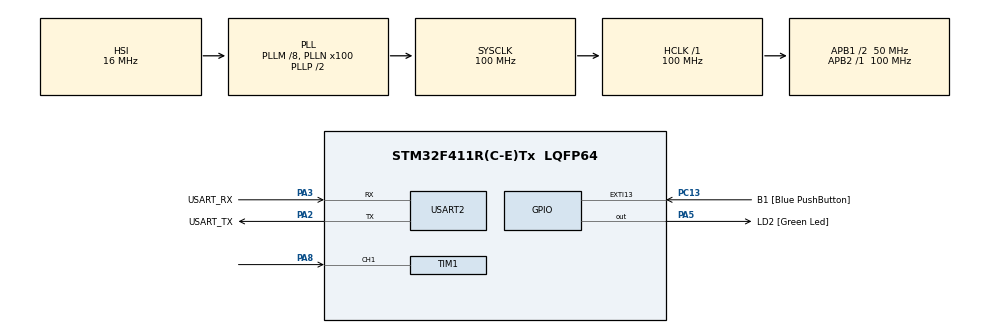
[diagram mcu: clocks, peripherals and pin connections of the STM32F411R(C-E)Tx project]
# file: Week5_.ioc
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Dma.Request0=TIM1_CH1
Dma.TIM1_CH1.0.Direction=DMA_PERIPH_TO_MEMORY
Dma.TIM1_CH1.0.FIFOMode=DMA_FIFOMODE_DISABLE
Dma.TIM1_CH1.0.Instance=DMA2_Stream1
Dma.TIM1_CH1.0.MemDataAlignment=DMA_MDATAALIGN_HALFWORD
Dma.TIM1_CH1.0.MemInc=DMA_MINC_ENABLE
Dma.TIM1_CH1.0.Mode=DMA_CIRCULAR
Dma.TIM1_CH1.0.PeriphDataAlignment=DMA_PDATAALIGN_HALFWORD
Dma.TIM1_CH1.0.PeriphInc=DMA_PINC_DISABLE
Dma.TIM1_CH1.0.Priority=DMA_PRIORITY_LOW
Mcu.Family=STM32F4
Mcu.Name=STM32F411R(C-E)Tx
Mcu.Package=LQFP64
NVIC.DMA2_Stream1_IRQn=true\:0\:0\:false\:false\:true\:false\:true
NVIC.PriorityGroup=NVIC_PRIORITYGROUP_0
NVIC.TIM1_TRG_COM_TIM11_IRQn=true\:0\:0\:false\:false\:true\:true\:true
PA13.GPIO_Label=TMS
PA13.Mode=Serial_Wire
PA13.Signal=SYS_JTMS-SWDIO
PA14.GPIO_Label=TCK
PA14.Mode=Serial_Wire
PA14.Signal=SYS_JTCK-SWCLK
PA2.GPIO_Label=USART_TX
PA2.Mode=Asynchronous
PA2.Signal=USART2_TX
PA3.GPIO_Label=USART_RX
PA3.Mode=Asynchronous
PA3.Signal=USART2_RX
PA5.GPIO_Label=LD2 [Green Led]
PA5.Signal=GPIO_Output
PA8.Signal=S_TIM1_CH1
PB3.GPIO_Label=SWO
PB3.Signal=SYS_JTDO-SWO
PC13-ANTI_TAMP.GPIO_Label=B1 [Blue PushButton]
PC13-ANTI_TAMP.GPIO_ModeDefaultEXTI=GPIO_MODE_IT_FALLING
PC13-ANTI_TAMP.Signal=GPXTI13
PC14-OSC32_IN.Mode=LSE-External-Oscillator
PC14-OSC32_IN.Signal=RCC_OSC32_IN
PC15-OSC32_OUT.Mode=LSE-External-Oscillator
PC15-OSC32_OUT.Signal=RCC_OSC32_OUT
PH0\ -\ OSC_IN.Mode=HSE-External-Clock-Source
PH0\ -\ OSC_IN.Signal=RCC_OSC_IN
PH1\ -\ OSC_OUT.Mode=HSE-External-Clock-Source
PH1\ -\ OSC_OUT.Signal=RCC_OSC_OUT
ProjectManager.HeapSize=0x200
ProjectManager.StackSize=0x400
ProjectManager.TargetToolchain=STM32CubeIDE
RCC.48MHZClocksFreq_Value=50000000
RCC.AHBFreq_Value=100000000
RCC.APB1CLKDivider=RCC_HCLK_DIV2
RCC.APB1Freq_Value=50000000
RCC.APB1TimFreq_Value=100000000
RCC.APB2Freq_Value=100000000
RCC.APB2TimFreq_Value=100000000
RCC.CortexFreq_Value=100000000
RCC.FLatency-AdvancedSettings=FLASH_LATENCY_3
RCC.HCLKFreq_Value=100000000
RCC.HSE_VALUE=8000000
RCC.HSI_VALUE=16000000
RCC.PLLM=8
RCC.PLLN=100
RCC.SYSCLKFreq_VALUE=100000000
RCC.SYSCLKSource=RCC_SYSCLKSOURCE_PLLCLK
RCC.VCOOutputFreq_Value=200000000
SH.S_TIM1_CH1.0=TIM1_CH1,Input_Capture1_from_TI1
TIM1.Channel-Input_Capture1_from_TI1=TIM_CHANNEL_1
TIM1.ICFilter_CH1=2
TIM1.ICPolarity_CH1=TIM_INPUTCHANNELPOLARITY_RISING
TIM1.Prescaler=99
TIM11.AutoReloadPreload=TIM_AUTORELOAD_PRELOAD_DISABLE
TIM11.Prescaler=99
USART2.VirtualMode=VM_ASYNC
VP_TIM11_VS_ClockSourceINT.Mode=Enable_Timer
VP_TIM1_VS_ClockSourceINT.Mode=Internal
board=NUCLEO-F411RE

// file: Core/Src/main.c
/* USER CODE BEGIN Header */
/**
  ******************************************************************************
  * @file           : main.c
  * @brief          : Main program body
  ******************************************************************************
  * @attention
  *
  * <h2><center>&copy; Copyright (c) 2021 STMicroelectronics.
  * All rights reserved.</center></h2>
  *
  * This software component is licensed by ST under BSD 3-Clause license,
  * the "License"; You may not use this file except in compliance with the
  * License. You may obtain a copy of the License at:
  *                        opensource.org/licenses/BSD-3-Clause
  *
  ******************************************************************************
  */
/* USER CODE END Header */
#include "main.h"

/* USER CODE BEGIN PD */
#define CAPTURENUM 16
/* USER CODE END PD */

TIM_HandleTypeDef htim1;
TIM_HandleTypeDef htim11;
DMA_HandleTypeDef hdma_tim1_ch1;

UART_HandleTypeDef huart2;

/* USER CODE BEGIN PV */

//DMA Buffer
uint16_t capturedata[CAPTURENUM] = { 0 };

int32_t DiffTime[CAPTURENUM-1] = { 0 };

float MeanTime =0;

uint64_t _micros = 0 ;
/* USER CODE END PV */

void SystemClock_Config(void);
static void MX_GPIO_Init(void);
static void MX_DMA_Init(void);
static void MX_USART2_UART_Init(void);
static void MX_TIM1_Init(void);
static void MX_TIM11_Init(void);
/* USER CODE BEGIN PFP */

uint64_t micros();

//Read speed of encoder
void encoderSpeedReaderCycle();

/* USER CODE END PFP */

int main(void)
{

  /* MCU Configuration--------------------------------------------------------*/

  /* Reset of all peripherals, Initializes the Flash interface and the Systick. */
  HAL_Init();

  /* Configure the system clock */
  SystemClock_Config();

  /* Initialize all configured peripherals */
  MX_GPIO_Init();
  MX_DMA_Init();
  MX_USART2_UART_Init();
  MX_TIM1_Init();
  MX_TIM11_Init();
  /* USER CODE BEGIN 2 */
  HAL_TIM_Base_Start_IT(&htim11);

  //start Input capture in DMA
  	HAL_TIM_Base_Start(&htim1);
  	HAL_TIM_IC_Start_DMA(&htim1, TIM_CHANNEL_1, (uint32_t*) &capturedata,
  			CAPTURENUM);

  uint64_t timestamp = 0 ;
  /* USER CODE END 2 */

  /* Infinite loop */
  /* USER CODE BEGIN WHILE */
  while (1)
  {

	  encoderSpeedReaderCycle();
	  if(micros()-timestamp > 1000000) //us
		{
			timestamp = micros();
			HAL_GPIO_TogglePin(LD2_GPIO_Port,LD2_Pin);
		}

    /* USER CODE END WHILE */

  }
}

void SystemClock_Config(void)
{
  RCC_OscInitTypeDef RCC_OscInitStruct = {0};
  RCC_ClkInitTypeDef RCC_ClkInitStruct = {0};

  /** Configure the main internal regulator output voltage
  */
  __HAL_RCC_PWR_CLK_ENABLE();
  __HAL_PWR_VOLTAGESCALING_CONFIG(PWR_REGULATOR_VOLTAGE_SCALE1);
  /** Initializes the RCC Oscillators according to the specified parameters
  * in the RCC_OscInitTypeDef structure.
  */
  RCC_OscInitStruct.OscillatorType = RCC_OSCILLATORTYPE_HSI;
  RCC_OscInitStruct.HSIState = RCC_HSI_ON;
  RCC_OscInitStruct.HSICalibrationValue = RCC_HSICALIBRATION_DEFAULT;
  RCC_OscInitStruct.PLL.PLLState = RCC_PLL_ON;
  RCC_OscInitStruct.PLL.PLLSource = RCC_PLLSOURCE_HSI;
  RCC_OscInitStruct.PLL.PLLM = 8;
  RCC_OscInitStruct.PLL.PLLN = 100;
  RCC_OscInitStruct.PLL.PLLP = RCC_PLLP_DIV2;
  RCC_OscInitStruct.PLL.PLLQ = 4;
  if (HAL_RCC_OscConfig(&RCC_OscInitStruct) != HAL_OK)
  {
    Error_Handler();
  }
  /** Initializes the CPU, AHB and APB buses clocks
  */
  RCC_ClkInitStruct.ClockType = RCC_CLOCKTYPE_HCLK|RCC_CLOCKTYPE_SYSCLK
                              |RCC_CLOCKTYPE_PCLK1|RCC_CLOCKTYPE_PCLK2;
  RCC_ClkInitStruct.SYSCLKSource = RCC_SYSCLKSOURCE_PLLCLK;
  RCC_ClkInitStruct.AHBCLKDivider = RCC_SYSCLK_DIV1;
  RCC_ClkInitStruct.APB1CLKDivider = RCC_HCLK_DIV2;
  RCC_ClkInitStruct.APB2CLKDivider = RCC_HCLK_DIV1;

  if (HAL_RCC_ClockConfig(&RCC_ClkInitStruct, FLASH_LATENCY_3) != HAL_OK)
  {
    Error_Handler();
  }
}

static void MX_TIM1_Init(void)
{

  TIM_ClockConfigTypeDef sClockSourceConfig = {0};
  TIM_MasterConfigTypeDef sMasterConfig = {0};
  TIM_IC_InitTypeDef sConfigIC = {0};

  htim1.Instance = TIM1;
  htim1.Init.Prescaler = 99;
  htim1.Init.CounterMode = TIM_COUNTERMODE_UP;
  htim1.Init.Period = 65535;
  htim1.Init.ClockDivision = TIM_CLOCKDIVISION_DIV1;
  htim1.Init.RepetitionCounter = 0;
  htim1.Init.AutoReloadPreload = TIM_AUTORELOAD_PRELOAD_DISABLE;
  if (HAL_TIM_Base_Init(&htim1) != HAL_OK)
  {
    Error_Handler();
  }
  sClockSourceConfig.ClockSource = TIM_CLOCKSOURCE_INTERNAL;
  if (HAL_TIM_ConfigClockSource(&htim1, &sClockSourceConfig) != HAL_OK)
  {
    Error_Handler();
  }
  if (HAL_TIM_IC_Init(&htim1) != HAL_OK)
  {
    Error_Handler();
  }
  sMasterConfig.MasterOutputTrigger = TIM_TRGO_RESET;
  sMasterConfig.MasterSlaveMode = TIM_MASTERSLAVEMODE_DISABLE;
  if (HAL_TIMEx_MasterConfigSynchronization(&htim1, &sMasterConfig) != HAL_OK)
  {
    Error_Handler();
  }
  sConfigIC.ICPolarity = TIM_INPUTCHANNELPOLARITY_RISING;
  sConfigIC.ICSelection = TIM_ICSELECTION_DIRECTTI;
  sConfigIC.ICPrescaler = TIM_ICPSC_DIV1;
  sConfigIC.ICFilter = 2;
  if (HAL_TIM_IC_ConfigChannel(&htim1, &sConfigIC, TIM_CHANNEL_1) != HAL_OK)
  {
    Error_Handler();
  }

}

static void MX_TIM11_Init(void)
{

  htim11.Instance = TIM11;
  htim11.Init.Prescaler = 99;
  htim11.Init.CounterMode = TIM_COUNTERMODE_UP;
  htim11.Init.Period = 65535;
  htim11.Init.ClockDivision = TIM_CLOCKDIVISION_DIV1;
  htim11.Init.AutoReloadPreload = TIM_AUTORELOAD_PRELOAD_DISABLE;
  if (HAL_TIM_Base_Init(&htim11) != HAL_OK)
  {
    Error_Handler();
  }

}

static void MX_USART2_UART_Init(void)
{

  huart2.Instance = USART2;
  huart2.Init.BaudRate = 115200;
  huart2.Init.WordLength = UART_WORDLENGTH_8B;
  huart2.Init.StopBits = UART_STOPBITS_1;
  huart2.Init.Parity = UART_PARITY_NONE;
  huart2.Init.Mode = UART_MODE_TX_RX;
  huart2.Init.HwFlowCtl = UART_HWCONTROL_NONE;
  huart2.Init.OverSampling = UART_OVERSAMPLING_16;
  if (HAL_UART_Init(&huart2) != HAL_OK)
  {
    Error_Handler();
  }

}

static void MX_DMA_Init(void)
{

  /* DMA controller clock enable */
  __HAL_RCC_DMA2_CLK_ENABLE();

  /* DMA interrupt init */
  /* DMA2_Stream1_IRQn interrupt configuration */
  HAL_NVIC_SetPriority(DMA2_Stream1_IRQn, 0, 0);
  HAL_NVIC_EnableIRQ(DMA2_Stream1_IRQn);

}

static void MX_GPIO_Init(void)
{
  GPIO_InitTypeDef GPIO_InitStruct = {0};

  /* GPIO Ports Clock Enable */
  __HAL_RCC_GPIOC_CLK_ENABLE();
  __HAL_RCC_GPIOH_CLK_ENABLE();
  __HAL_RCC_GPIOA_CLK_ENABLE();
  __HAL_RCC_GPIOB_CLK_ENABLE();

  /*Configure GPIO pin Output Level */
  HAL_GPIO_WritePin(LD2_GPIO_Port, LD2_Pin, GPIO_PIN_RESET);

  /*Configure GPIO pin : B1_Pin */
  GPIO_InitStruct.Pin = B1_Pin;
  GPIO_InitStruct.Mode = GPIO_MODE_IT_FALLING;
  GPIO_InitStruct.Pull = GPIO_NOPULL;
  HAL_GPIO_Init(B1_GPIO_Port, &GPIO_InitStruct);

  /*Configure GPIO pin : LD2_Pin */
  GPIO_InitStruct.Pin = LD2_Pin;
  GPIO_InitStruct.Mode = GPIO_MODE_OUTPUT_PP;
  GPIO_InitStruct.Pull = GPIO_NOPULL;
  GPIO_InitStruct.Speed = GPIO_SPEED_FREQ_LOW;
  HAL_GPIO_Init(LD2_GPIO_Port, &GPIO_InitStruct);

}

/* USER CODE BEGIN 4 */

void encoderSpeedReaderCycle() {
	//get DMA Position form number of data
	uint32_t CapPos =CAPTURENUM -  __HAL_DMA_GET_COUNTER(htim1.hdma[TIM_DMA_ID_CC1]);
	uint32_t sum = 0 ;

	//calculate diff from all buffer
	for(register int i=0 ;i < CAPTURENUM-1;i++)
	{
		DiffTime[i]  = capturedata[(CapPos+1+i)%CAPTURENUM]-capturedata[(CapPos+i)%CAPTURENUM];
		//time never go back, but timer can over flow , conpensate that
		if (DiffTime[i] <0)
		{
			DiffTime[i]+=65535;
		}
		//Sum all 15 Diff
		sum += DiffTime[i];
	}

	//mean all 15 Diff
	MeanTime =sum / (float)(CAPTURENUM-1);
}
uint64_t micros()
{
	return _micros + htim11.Instance->CNT;  //Counter of Timer11
}
void HAL_TIM_PeriodElapsedCallback(TIM_HandleTypeDef *htim)
{
 if(htim == &htim11)
 {
	 _micros += 65535;
 }
}
/* USER CODE END 4 */

void Error_Handler(void)
{
  __disable_irq();
  while (1)
  {
  }
}

/************************ (C) COPYRIGHT STMicroelectronics *****END OF FILE****/
